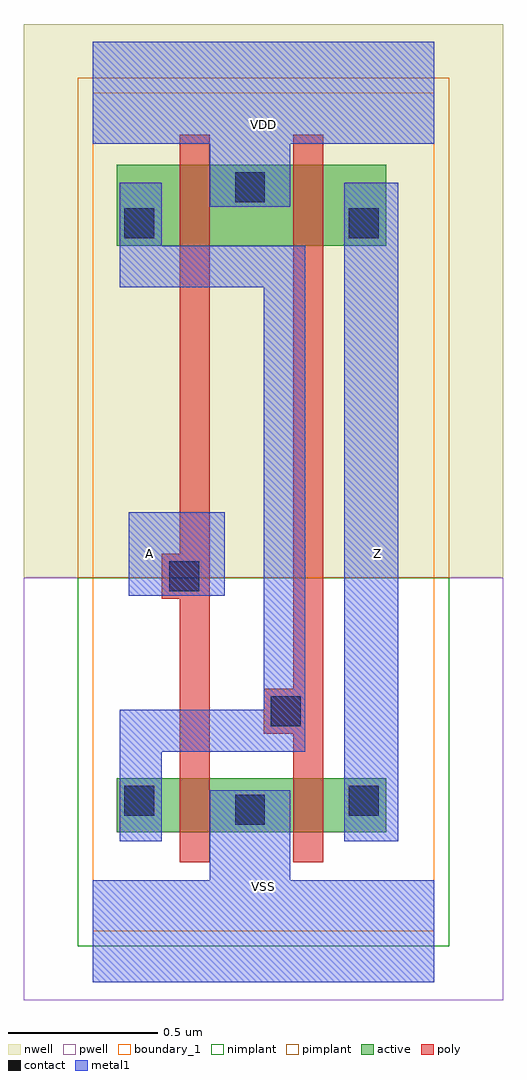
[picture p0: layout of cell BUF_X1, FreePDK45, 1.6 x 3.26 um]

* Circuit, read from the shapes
.subckt BUF_X1 A VDD VSS Z
M1 VSS A n1 VSUBS nfet w=0.18u l=0.1u
M2 Z n1 VSS VSUBS nfet w=0.18u l=0.1u
M3 VDD A n1 n2 pfet w=0.27u l=0.1u
M4 Z n1 VDD n2 pfet w=0.27u l=0.1u
.ends

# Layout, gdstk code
import gdstk
lib = gdstk.Library(unit=1e-6, precision=1e-09)
def R(c, l, rs):  # rectangles x0, y0, x1, y1
    for r in rs: c.add(gdstk.rectangle(r[:2], r[2:], *l))
def P(c, l, *ps):  # polygons
    for p in ps: c.add(gdstk.Polygon(p, *l))
active = (1, 0)
pwell = (2, 0)
nwell = (3, 0)
nimplant = (4, 0)
pimplant = (5, 0)
poly = (9, 0)
contact = (10, 0)
metal1 = (11, 0)
boundary_1 = (235, 1)

buf_x1 = lib.new_cell('BUF_X1')
R(buf_x1, active, [(0.08,0.33,0.98,0.51), (0.08,2.29,0.98,2.56)])
R(buf_x1, pwell, [(-0.23,-0.23,1.37,1.18)])
R(buf_x1, nwell, [(-0.23,1.18,1.37,3.03)])
R(buf_x1, nimplant, [(-0.05,-0.05,1.19,1.18)])
R(buf_x1, pimplant, [(-0.05,1.18,1.19,2.85)])
P(buf_x1, poly, [(0.57,0.66),(0.67,0.66),(0.67,0.23),(0.77,0.23),(0.77,2.66),(0.67,2.66),(0.67,0.81),(0.57,0.81)],
  [(0.23,1.11),(0.29,1.11),(0.29,0.23),(0.39,0.23),(0.39,2.66),(0.29,2.66),(0.29,1.26),(0.23,1.26)])
R(buf_x1, contact, [(0.475,0.355,0.575,0.455), (0.105,0.385,0.205,0.485), (0.855,0.385,0.955,0.485), (0.595,0.685,0.695,0.785), (0.255,1.135,0.355,1.235), (0.105,2.315,0.205,2.415), (0.855,2.315,0.955,2.415), (0.475,2.435,0.575,2.535)])
R(buf_x1, metal1, [(0.84,0.3,1.02,2.5), (0.84,0.3,1.02,2.5), (0.12,1.12,0.44,1.4), (0.12,1.12,0.44,1.4)])
P(buf_x1, metal1, [(0,-0.17),(1.14,-0.17),(1.14,0.17),(0.66,0.17),(0.66,0.47),(0.39,0.47),(0.39,0.17),(0,0.17)],
  [(0,2.63),(0.39,2.63),(0.39,2.42),(0.66,2.42),(0.66,2.63),(1.14,2.63),(1.14,2.97),(0,2.97)],
  [(0,2.63),(0.39,2.63),(0.39,2.42),(0.66,2.42),(0.66,2.63),(1.14,2.63),(1.14,2.97),(0,2.97)],
  [(0,-0.17),(1.14,-0.17),(1.14,0.17),(0.66,0.17),(0.66,0.47),(0.39,0.47),(0.39,0.17),(0,0.17)],
  [(0.09,2.15),(0.57,2.15),(0.57,0.74),(0.09,0.74),(0.09,0.3),(0.23,0.3),(0.23,0.6),(0.71,0.6),(0.71,2.29),(0.23,2.29),(0.23,2.5),(0.09,2.5)])
R(buf_x1, boundary_1, [(0,0,1.14,2.8)])
buf_x1.add(gdstk.Label('Z', (0.95,1.26), layer=11, texttype=0))
buf_x1.add(gdstk.Label('VSS', (0.57,0.15), layer=11, texttype=0))
buf_x1.add(gdstk.Label('VDD', (0.57,2.695), layer=11, texttype=0))
buf_x1.add(gdstk.Label('A', (0.19,1.26), layer=11, texttype=0))

lib.write_gds('BUF_X1.gds')
